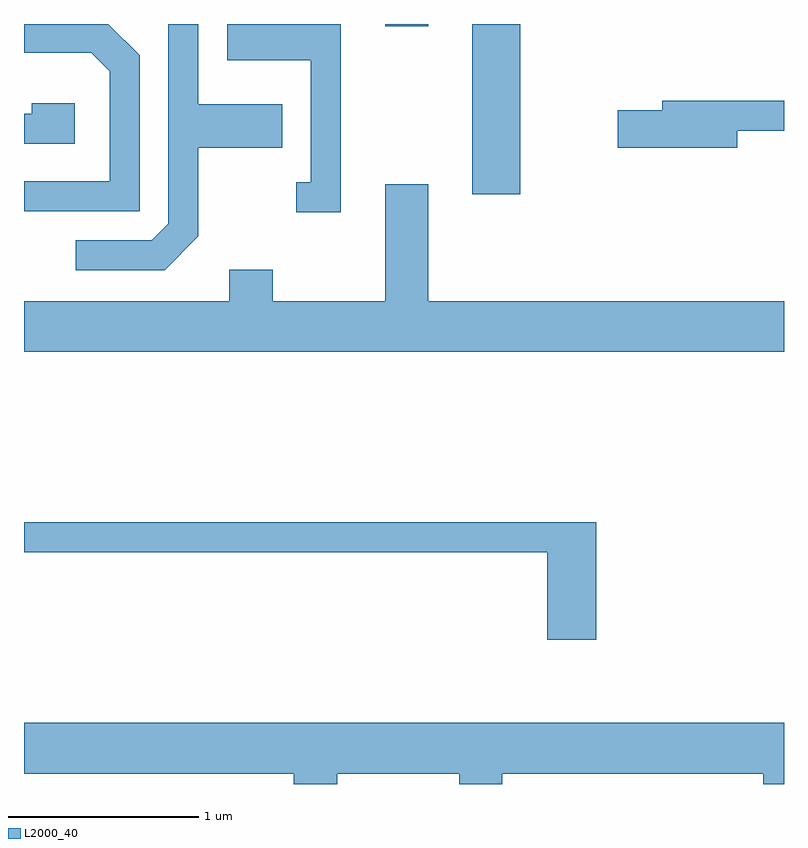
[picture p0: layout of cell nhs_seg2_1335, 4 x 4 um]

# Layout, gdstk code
import gdstk
lib = gdstk.Library(unit=1e-6, precision=1e-09)
def R(c, l, rs):  # rectangles x0, y0, x1, y1
    for r in rs: c.add(gdstk.rectangle(r[:2], r[2:], *l))
def P(c, l, *ps):  # polygons
    for p in ps: c.add(gdstk.Polygon(p, *l))
L2000_40 = (2000, 40)

nhs_seg2_1335 = lib.new_cell('nhs_seg2_1335')
R(nhs_seg2_1335, L2000_40, [(225.971,1066.906,226.224,1067.802), (225.511,1067.791,225.739,1067.802)])
P(nhs_seg2_1335, L2000_40, [(225.279,1067.802),(224.681,1067.802),(224.681,1067.611),(225.121,1067.611),(225.121,1066.969),(225.043,1066.969),(225.043,1066.811),(225.279,1066.811)],
  [(224.529,1066.684),(224.529,1067.151),(224.969,1067.151),(224.969,1067.379),(224.529,1067.379),(224.529,1067.802),(224.371,1067.802),(224.371,1066.752),(224.284,1066.664),(223.883,1066.664),(223.883,1066.506),(224.352,1066.506)],
  [(224.219,1067.637),(224.054,1067.802),(223.611,1067.802),(223.611,1067.651),(223.964,1067.651),(224.061,1067.554),(224.061,1066.974),(223.611,1066.974),(223.611,1066.816),(224.219,1066.816)],
  [(227.364,1067.241),(227.611,1067.241),(227.611,1067.399),(226.971,1067.399),(226.971,1067.349),(226.736,1067.349),(226.736,1067.151),(227.364,1067.151)],
  [(223.879,1067.384),(223.651,1067.384),(223.651,1067.329),(223.611,1067.329),(223.611,1067.171),(223.879,1067.171)],
  [(227.611,1066.344),(225.739,1066.344),(225.739,1066.959),(225.511,1066.959),(225.511,1066.344),(224.919,1066.344),(224.919,1066.509),(224.691,1066.509),(224.691,1066.344),(223.611,1066.344),(223.611,1066.076),(227.611,1066.076)],
  [(226.624,1065.179),(223.611,1065.179),(223.611,1065.021),(226.366,1065.021),(226.366,1064.561),(226.624,1064.561)],
  [(225.259,1063.856),(225.901,1063.856),(225.901,1063.802),(226.129,1063.802),(226.129,1063.856),(227.501,1063.856),(227.501,1063.802),(227.611,1063.802),(227.611,1064.124),(223.611,1064.124),(223.611,1063.856),(225.031,1063.856),(225.031,1063.802),(225.259,1063.802)])

lib.write_gds('nhs_seg2_1335.gds')
